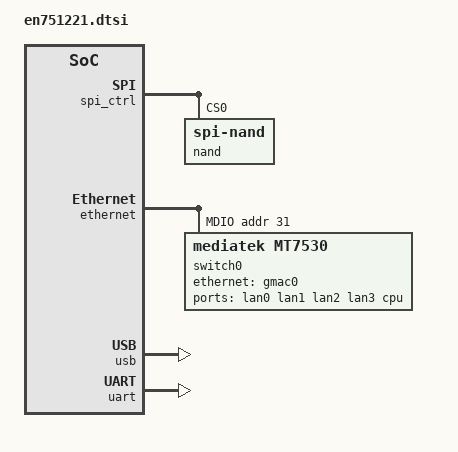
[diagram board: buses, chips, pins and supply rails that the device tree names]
// SPDX-License-Identifier: (GPL-2.0-only OR BSD-2-Clause)
/dts-v1/;

/ {
	compatible = "econet,en751221";
	#address-cells = <1>;
	#size-cells = <1>;

	hpt_clock: clock {
		compatible = "fixed-clock";
		#clock-cells = <0>;
		clock-frequency = <200000000>;  /* 200 MHz */
	};

	cpus: cpus {
		#address-cells = <1>;
		#size-cells = <0>;

		cpu@0 {
			device_type = "cpu";
			compatible = "mips,mips34Kc";
			reg = <0>;
		};
	};

	cpuintc: interrupt-controller {
		compatible = "mti,cpu-interrupt-controller";
		interrupt-controller;
		#address-cells = <0>;
		#interrupt-cells = <1>;
	};

	spi_ctrl: spi_controller@1fa10000 {
		compatible = "airoha,en7523-spi";
		reg = <0x1fa10000 0x140>;
		#address-cells = <1>;
		#size-cells = <0>;
		spi-rx-bus-width = <2>;
		spi-tx-bus-width = <2>;

		nand: nand@0 {
			compatible = "spi-nand";
			reg = <0>;
			nand-ecc-engine = <&nand>;
		};
	};

	intc: interrupt-controller@1fb40000 {
		compatible = "econet,en751221-intc";
		reg = <0x1fb40000 0x100>;
		interrupt-parent = <&cpuintc>;
		interrupts = <2>;

		interrupt-controller;
		#interrupt-cells = <1>;
		econet,shadow-interrupts = <7 2>, <8 3>, <13 12>, <30 29>;
	};

	ethernet: ethernet@1fb50000 {
		compatible = "econet,en751221-eth";
		reg = <0x1fb50000 0x10000>;

		#address-cells = <1>;
		#size-cells = <0>;

		interrupt-parent = <&intc>;
		interrupts = <21>, <22>;

		gmac0: mac@0 {
			compatible = "econet,eth-mac";
			reg = <0>;
			phy-mode = "trgmii";
			status = "disabled";

			fixed-link {
				speed = <1000>;
				full-duplex;
				pause;
			};
		};

		gmac1: mac@1 {
			compatible = "econet,eth-mac";
			reg = <1>;
			status = "disabled";
			phy-mode = "rgmii-rxid";
		};

		 mdio: mdio-bus {
			#address-cells = <1>;
			#size-cells = <0>;

			switch0: switch@1f {
				compatible = "mediatek,mt7530";
				#address-cells = <1>;
				#size-cells = <0>;
				reg = <0x1f>;
				mediatek,mcm;
				reset-names = "mcm";

				ports {
					#address-cells = <1>;
					#size-cells = <0>;
					reg = <0>;

					port@0 {
						status = "disabled";
						reg = <0>;
						label = "lan0";
					};

					port@1 {
						status = "disabled";
						reg = <1>;
						label = "lan1";
					};

					port@2 {
						status = "disabled";
						reg = <2>;
						label = "lan2";
					};

					port@3 {
						status = "disabled";
						reg = <3>;
						label = "lan3";
					};

					port@6 {
						reg = <6>;
						label = "cpu";
						ethernet = <&gmac0>;
						phy-mode = "trgmii";

						fixed-link {
							speed = <1000>;
							full-duplex;
						};
					};
				};
			};
		};
	};

    usb: usb@1fb90000 {
            compatible = "mediatek,mt8173-xhci", "mediatek,mtk-xhci";
            reg = <0x1fb90000 0x4000>,
                  <0x1fa80700 0x100>;
            reg-names = "mac", "ippc";

            #address-cells = <1>;
            #size-cells = <0>;

            interrupt-parent = <&intc>;
            interrupts = <17>;
            usb3-lpm-capable;
    };

	uart: serial@1fbf0000 {
		compatible = "ns16550";
		reg = <0x1fbf0000 0x30>;
		reg-io-width = <4>;
		reg-shift = <2>;
		interrupt-parent = <&intc>;
		interrupts = <0>;
		/*
		 * Conversion of baud rate to clock frequency requires a
		 * computation that is not in the ns16550 driver, so this
		 * uart is fixed at 115200 baud.
		 */
		clock-frequency = <1843200>;
	};

	timer_hpt: timer@1fbf0400 {
		compatible = "econet,en751221-timer";
		reg = <0x1fbf0400 0x100>;

		interrupt-parent = <&intc>;
		interrupts = <30>;
		clocks = <&hpt_clock>;
	};
};
